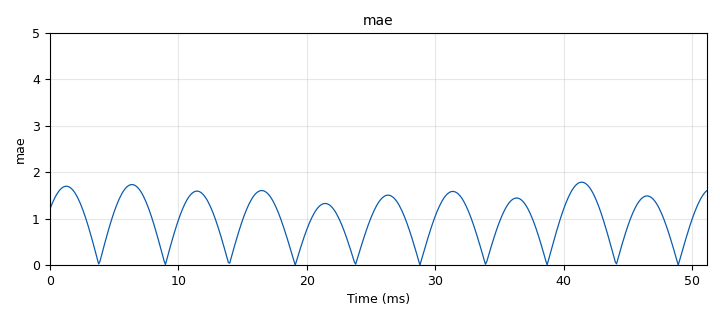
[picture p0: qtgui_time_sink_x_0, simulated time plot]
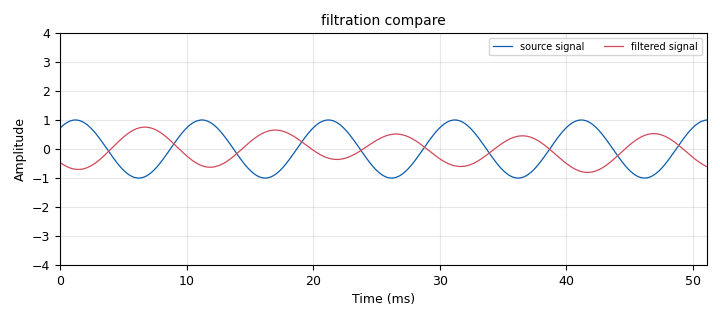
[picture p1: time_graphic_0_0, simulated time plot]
<?xml version='1.0' encoding='utf-8'?>
<?grc format='1' created='3.7.11'?>
<flow_graph>
<block>
<key>options</key>
<param><key>id</key><value>Lab_6</value></param>
<param><key>generate_options</key><value>qt_gui</value></param>
</block>
<block>
<key>variable_qtgui_range</key>
<param><key>id</key><value>freq</value></param>
<param><key>value</key><value>100</value></param>
<param><key>orient</key><value>Qt.Horizontal</value></param>
<param><key>start</key><value>100</value></param>
<param><key>step</key><value>450</value></param>
<param><key>stop</key><value>1000</value></param>
</block>
<block>
<key>variable_qtgui_range</key>
<param><key>id</key><value>my_twidth</value></param>
<param><key>value</key><value>0.1</value></param>
<param><key>orient</key><value>Qt.Horizontal</value></param>
<param><key>start</key><value>0.1</value></param>
<param><key>step</key><value>0.05</value></param>
<param><key>stop</key><value>1</value></param>
</block>
<block>
<key>variable</key>
<param><key>id</key><value>points_num</value></param>
<param><key>value</key><value>512</value></param>
</block>
<block>
<key>variable</key>
<param><key>id</key><value>samp_rate</value></param>
<param><key>value</key><value>10000</value></param>
</block>
<block>
<key>analog_noise_source_x</key>
<param><key>id</key><value>analog_noise_source_x_0</value></param>
<param><key>amp</key><value>1</value></param>
<param><key>noise_type</key><value>analog.GR_GAUSSIAN</value></param>
<param><key>type</key><value>float</value></param>
<param><key>seed</key><value>0</value></param>
</block>
<block>
<key>analog_sig_source_x</key>
<param><key>id</key><value>analog_sig_source</value></param>
<param><key>amp</key><value>1</value></param>
<param><key>freq</key><value>freq</value></param>
<param><key>offset</key><value>0</value></param>
<param><key>type</key><value>float</value></param>
<param><key>samp_rate</key><value>samp_rate</value></param>
<param><key>waveform</key><value>analog.GR_COS_WAVE</value></param>
</block>
<block>
<key>blocks_abs_xx</key>
<param><key>id</key><value>blocks_abs_xx_0</value></param>
<param><key>type</key><value>float</value></param>
</block>
<block>
<key>blocks_add_xx</key>
<param><key>id</key><value>blocks_add_xx_0</value></param>
<param><key>type</key><value>float</value></param>
</block>
<block>
<key>blocks_sub_xx</key>
<param><key>id</key><value>blocks_sub_xx_0</value></param>
<param><key>type</key><value>float</value></param>
</block>
<block>
<key>blocks_throttle</key>
<param><key>id</key><value>blocks_throttle_0</value></param>
<param><key>samples_per_second</key><value>samp_rate</value></param>
<param><key>type</key><value>float</value></param>
</block>
<block>
<key>low_pass_filter</key>
<param><key>id</key><value>low_pass_filter_0</value></param>
<param><key>cutoff_freq</key><value>100</value></param>
<param><key>type</key><value>interp_fir_filter_fff</value></param>
<param><key>gain</key><value>1</value></param>
<param><key>interp</key><value>1</value></param>
<param><key>samp_rate</key><value>samp_rate</value></param>
<param><key>width</key><value>my_twidth</value></param>
<param><key>win</key><value>firdes.WIN_HAMMING</value></param>
</block>
<block>
<key>qtgui_time_sink_x</key>
<param><key>id</key><value>qtgui_time_sink_x_0</value></param>
<param><key>color1</key><value>"blue"</value></param>
<param><key>label1</key><value></value></param>
<param><key>name</key><value>"mae"</value></param>
<param><key>size</key><value>points_num</value></param>
<param><key>srate</key><value>samp_rate</value></param>
<param><key>type</key><value>float</value></param>
<param><key>update_time</key><value>1.0</value></param>
<param><key>ylabel</key><value>mae</value></param>
<param><key>ymax</key><value>5</value></param>
<param><key>ymin</key><value>0</value></param>
</block>
<block>
<key>qtgui_time_sink_x</key>
<param><key>id</key><value>time_graphic_0_0</value></param>
<param><key>color1</key><value>"blue"</value></param>
<param><key>label1</key><value>source signal</value></param>
<param><key>style1</key><value>2</value></param>
<param><key>color2</key><value>"red"</value></param>
<param><key>label2</key><value>filtered signal</value></param>
<param><key>name</key><value>"filtration compare"</value></param>
<param><key>nconnections</key><value>2</value></param>
<param><key>size</key><value>points_num</value></param>
<param><key>srate</key><value>samp_rate</value></param>
<param><key>type</key><value>float</value></param>
<param><key>update_time</key><value>1.0</value></param>
<param><key>ymax</key><value>4</value></param>
<param><key>ymin</key><value>-4</value></param>
</block>
<connection><source_block_id>analog_noise_source_x_0</source_block_id><sink_block_id>blocks_add_xx_0</sink_block_id><source_key>0</source_key><sink_key>1</sink_key></connection>
<connection><source_block_id>analog_sig_source</source_block_id><sink_block_id>blocks_add_xx_0</sink_block_id><source_key>0</source_key><sink_key>0</sink_key></connection>
<connection><source_block_id>analog_sig_source</source_block_id><sink_block_id>blocks_sub_xx_0</sink_block_id><source_key>0</source_key><sink_key>1</sink_key></connection>
<connection><source_block_id>analog_sig_source</source_block_id><sink_block_id>time_graphic_0_0</sink_block_id><source_key>0</source_key><sink_key>0</sink_key></connection>
<connection><source_block_id>blocks_abs_xx_0</source_block_id><sink_block_id>qtgui_time_sink_x_0</sink_block_id><source_key>0</source_key><sink_key>0</sink_key></connection>
<connection><source_block_id>blocks_add_xx_0</source_block_id><sink_block_id>blocks_throttle_0</sink_block_id><source_key>0</source_key><sink_key>0</sink_key></connection>
<connection><source_block_id>blocks_sub_xx_0</source_block_id><sink_block_id>blocks_abs_xx_0</sink_block_id><source_key>0</source_key><sink_key>0</sink_key></connection>
<connection><source_block_id>blocks_throttle_0</source_block_id><sink_block_id>low_pass_filter_0</sink_block_id><source_key>0</source_key><sink_key>0</sink_key></connection>
<connection><source_block_id>low_pass_filter_0</source_block_id><sink_block_id>blocks_sub_xx_0</sink_block_id><source_key>0</source_key><sink_key>0</sink_key></connection>
<connection><source_block_id>low_pass_filter_0</source_block_id><sink_block_id>time_graphic_0_0</sink_block_id><source_key>0</source_key><sink_key>1</sink_key></connection>
</flow_graph>
